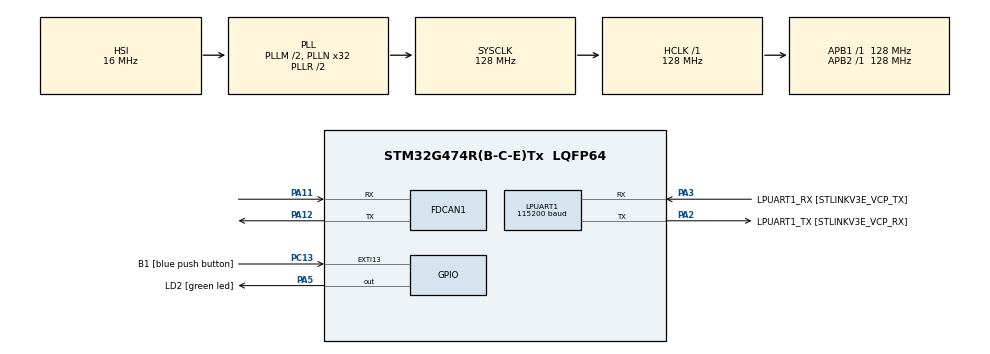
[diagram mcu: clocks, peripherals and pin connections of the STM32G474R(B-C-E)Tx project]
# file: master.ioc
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FDCAN1.ClockDivider=FDCAN_CLOCK_DIV2
FDCAN1.Mode=FDCAN_MODE_NORMAL
FDCAN1.NominalPrescaler=5
FDCAN1.NominalTimeSeg1=13
LPUART1.BaudRate=115200
LPUART1.WordLength=UART_WORDLENGTH_8B
Mcu.Family=STM32G4
Mcu.Name=STM32G474R(B-C-E)Tx
Mcu.Package=LQFP64
NVIC.EXTI15_10_IRQn=true\:0\:0\:false\:false\:true\:true\:true
NVIC.FDCAN1_IT0_IRQn=true\:0\:0\:false\:false\:true\:true\:true
NVIC.PriorityGroup=NVIC_PRIORITYGROUP_4
PA11.Mode=FDCANMaster
PA11.Signal=FDCAN1_RX
PA12.Mode=FDCANMaster
PA12.Signal=FDCAN1_TX
PA13.GPIO_Label=T_SWDIO
PA13.Mode=Serial_Wire
PA13.Signal=SYS_JTMS-SWDIO
PA14.GPIO_Label=T_SWCLK
PA14.Mode=Serial_Wire
PA14.Signal=SYS_JTCK-SWCLK
PA2.GPIO_Label=LPUART1_TX [STLINKV3E_VCP_RX]
PA2.Mode=Asynchronous
PA2.Signal=LPUART1_TX
PA3.GPIO_Label=LPUART1_RX [STLINKV3E_VCP_TX]
PA3.Mode=Asynchronous
PA3.Signal=LPUART1_RX
PA5.GPIO_Label=LD2 [green led]
PA5.Signal=GPIO_Output
PB3.GPIO_Label=T_SWO
PB3.Signal=SYS_JTDO-SWO
PC13.GPIO_Label=B1 [blue push button]
PC13.Signal=GPXTI13
PC14-OSC32_IN.Mode=LSE-External-Oscillator
PC14-OSC32_IN.Signal=RCC_OSC32_IN
PC15-OSC32_OUT.Mode=LSE-External-Oscillator
PC15-OSC32_OUT.Signal=RCC_OSC32_OUT
PF0-OSC_IN.Mode=HSE-External-Oscillator
PF0-OSC_IN.Signal=RCC_OSC_IN
PF1-OSC_OUT.Mode=HSE-External-Oscillator
PF1-OSC_OUT.Signal=RCC_OSC_OUT
ProjectManager.HeapSize=0x200
ProjectManager.StackSize=0x400
ProjectManager.TargetToolchain=STM32CubeIDE
RCC.ADC12Freq_Value=128000000
RCC.ADC345Freq_Value=128000000
RCC.AHBFreq_Value=128000000
RCC.APB1Freq_Value=128000000
RCC.APB1TimFreq_Value=128000000
RCC.APB2Freq_Value=128000000
RCC.APB2TimFreq_Value=128000000
RCC.CortexFreq_Value=128000000
RCC.EXTERNAL_CLOCK_VALUE=12288000
RCC.HCLKFreq_Value=128000000
RCC.HSE_VALUE=24000000
RCC.HSI48_VALUE=48000000
RCC.HSI_VALUE=16000000
RCC.PLLM=RCC_PLLM_DIV2
RCC.PLLN=32
RCC.RTCClockSelection=RCC_RTCCLKSOURCE_LSE
RCC.SYSCLKFreq_VALUE=128000000
RCC.SYSCLKSource=RCC_SYSCLKSOURCE_PLLCLK
RCC.USBFreq_Value=128000000
RCC.VCOOutputFreq_Value=256000000
VP_SYS_VS_DBSignals.Mode=DisableDeadBatterySignals
board=NUCLEO-G474RE

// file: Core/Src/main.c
/* USER CODE BEGIN Header */
/**
  ******************************************************************************
  * @file           : main.c
  * @brief          : Main program body
  ******************************************************************************
  * @attention
  *
  * <h2><center>&copy; Copyright (c) 2019 STMicroelectronics.
  * All rights reserved.</center></h2>
  *
  * This software component is licensed by ST under BSD 3-Clause license,
  * the "License"; You may not use this file except in compliance with the
  * License. You may obtain a copy of the License at:
  *                        opensource.org/licenses/BSD-3-Clause
  *
  ******************************************************************************
  */
/* USER CODE END Header */

#include "main.h"

FDCAN_HandleTypeDef hfdcan1;

UART_HandleTypeDef hlpuart1;

/* USER CODE BEGIN PV */
uint8_t ubKeyNumber = 0x0;
FDCAN_RxHeaderTypeDef RxHeader;
uint8_t RxData[8];
FDCAN_TxHeaderTypeDef TxHeader;
uint8_t TxData[8];
/* USER CODE END PV */

void SystemClock_Config(void);
static void MX_GPIO_Init(void);
static void MX_LPUART1_UART_Init(void);
static void MX_FDCAN1_Init(void);

int main(void)
{

  /* MCU Configuration--------------------------------------------------------*/

  /* Reset of all peripherals, Initializes the Flash interface and the Systick. */
  HAL_Init();

  /* Configure the system clock */
  SystemClock_Config();

  /* Initialize all configured peripherals */
  MX_GPIO_Init();
  MX_LPUART1_UART_Init();
  MX_FDCAN1_Init();
  /* USER CODE BEGIN 2 */
  TxHeader.Identifier = 0x321;
  TxHeader.IdType = FDCAN_EXTENDED_ID;
  TxHeader.TxFrameType = FDCAN_DATA_FRAME;
  TxHeader.DataLength = FDCAN_DLC_BYTES_8;
  TxHeader.ErrorStateIndicator = FDCAN_ESI_ACTIVE;
  TxHeader.BitRateSwitch = FDCAN_BRS_OFF;
  TxHeader.FDFormat = FDCAN_CLASSIC_CAN;
  TxHeader.TxEventFifoControl = FDCAN_NO_TX_EVENTS;
  TxHeader.MessageMarker = 0;
  TxData[0] = ubKeyNumber++;
  TxData[1] = 0xAD;
  TxData[2] = 0xDE;
  TxData[3] = 0xAD;
  TxData[4] = 0xBE;
  TxData[5] = 0xEF;
  TxData[6] = 0xFA;
  TxData[7] = 0xCE;

  /*sFilterConfig.FilterFIFOAssignment=CAN_FILTER_FIFO0;
  sFilterConfig.FilterIdHigh=0x313<<5;
  sFilterConfig.FilterIdLow=0;
  sFilterConfig.FilterMaskIdHigh=0;
  sFilterConfig.FilterMaskIdLow=0;
  sFilterConfig.FilterScale=CAN_FILTERSCALE_32BIT;
  sFilterConfig.FilterActivation=ENABLE;*/

  if (HAL_FDCAN_Start(&hfdcan1) != HAL_OK)
    {
      /* Start Error */
      Error_Handler();
    }

  if ( HAL_FDCAN_ActivateNotification(&hfdcan1, FDCAN_IT_RX_FIFO0_NEW_MESSAGE, 0) != HAL_OK)
    {
      /* Notification Error */
      Error_Handler();
    }

  /* USER CODE END 2 */

  /* Infinite loop */
  while (1)
  {

  }
}

void SystemClock_Config(void)
{
  RCC_OscInitTypeDef RCC_OscInitStruct = {0};
  RCC_ClkInitTypeDef RCC_ClkInitStruct = {0};
  RCC_PeriphCLKInitTypeDef PeriphClkInit = {0};

  /** Configure the main internal regulator output voltage
  */
  HAL_PWREx_ControlVoltageScaling(PWR_REGULATOR_VOLTAGE_SCALE1);
  /** Initializes the CPU, AHB and APB busses clocks
  */
  RCC_OscInitStruct.OscillatorType = RCC_OSCILLATORTYPE_HSI;
  RCC_OscInitStruct.HSIState = RCC_HSI_ON;
  RCC_OscInitStruct.HSICalibrationValue = RCC_HSICALIBRATION_DEFAULT;
  RCC_OscInitStruct.PLL.PLLState = RCC_PLL_ON;
  RCC_OscInitStruct.PLL.PLLSource = RCC_PLLSOURCE_HSI;
  RCC_OscInitStruct.PLL.PLLM = RCC_PLLM_DIV2;
  RCC_OscInitStruct.PLL.PLLN = 32;
  RCC_OscInitStruct.PLL.PLLP = RCC_PLLP_DIV2;
  RCC_OscInitStruct.PLL.PLLQ = RCC_PLLQ_DIV2;
  RCC_OscInitStruct.PLL.PLLR = RCC_PLLR_DIV2;
  if (HAL_RCC_OscConfig(&RCC_OscInitStruct) != HAL_OK)
  {
    Error_Handler();
  }
  /** Initializes the CPU, AHB and APB busses clocks
  */
  RCC_ClkInitStruct.ClockType = RCC_CLOCKTYPE_HCLK|RCC_CLOCKTYPE_SYSCLK
                              |RCC_CLOCKTYPE_PCLK1|RCC_CLOCKTYPE_PCLK2;
  RCC_ClkInitStruct.SYSCLKSource = RCC_SYSCLKSOURCE_PLLCLK;
  RCC_ClkInitStruct.AHBCLKDivider = RCC_SYSCLK_DIV1;
  RCC_ClkInitStruct.APB1CLKDivider = RCC_HCLK_DIV1;
  RCC_ClkInitStruct.APB2CLKDivider = RCC_HCLK_DIV1;

  if (HAL_RCC_ClockConfig(&RCC_ClkInitStruct, FLASH_LATENCY_6) != HAL_OK)
  {
    Error_Handler();
  }
  /** Initializes the peripherals clocks
  */
  PeriphClkInit.PeriphClockSelection = RCC_PERIPHCLK_LPUART1|RCC_PERIPHCLK_FDCAN;
  PeriphClkInit.Lpuart1ClockSelection = RCC_LPUART1CLKSOURCE_PCLK1;
  PeriphClkInit.FdcanClockSelection = RCC_FDCANCLKSOURCE_PCLK1;
  if (HAL_RCCEx_PeriphCLKConfig(&PeriphClkInit) != HAL_OK)
  {
    Error_Handler();
  }
}

static void MX_FDCAN1_Init(void)
{

  hfdcan1.Instance = FDCAN1;
  hfdcan1.Init.ClockDivider = FDCAN_CLOCK_DIV2;
  hfdcan1.Init.FrameFormat = FDCAN_FRAME_CLASSIC;
  hfdcan1.Init.Mode = FDCAN_MODE_NORMAL;
  hfdcan1.Init.AutoRetransmission = DISABLE;
  hfdcan1.Init.TransmitPause = DISABLE;
  hfdcan1.Init.ProtocolException = DISABLE;
  hfdcan1.Init.NominalPrescaler = 5;
  hfdcan1.Init.NominalSyncJumpWidth = 1;
  hfdcan1.Init.NominalTimeSeg1 = 13;
  hfdcan1.Init.NominalTimeSeg2 = 2;
  hfdcan1.Init.DataPrescaler = 1;
  hfdcan1.Init.DataSyncJumpWidth = 1;
  hfdcan1.Init.DataTimeSeg1 = 1;
  hfdcan1.Init.DataTimeSeg2 = 1;
  hfdcan1.Init.StdFiltersNbr = 0;
  hfdcan1.Init.ExtFiltersNbr = 0;
  hfdcan1.Init.TxFifoQueueMode = FDCAN_TX_FIFO_OPERATION;
  if (HAL_FDCAN_Init(&hfdcan1) != HAL_OK)
  {
    Error_Handler();
  }

}

static void MX_LPUART1_UART_Init(void)
{

  hlpuart1.Instance = LPUART1;
  hlpuart1.Init.BaudRate = 115200;
  hlpuart1.Init.WordLength = UART_WORDLENGTH_8B;
  hlpuart1.Init.StopBits = UART_STOPBITS_1;
  hlpuart1.Init.Parity = UART_PARITY_NONE;
  hlpuart1.Init.Mode = UART_MODE_TX_RX;
  hlpuart1.Init.HwFlowCtl = UART_HWCONTROL_NONE;
  hlpuart1.Init.OneBitSampling = UART_ONE_BIT_SAMPLE_DISABLE;
  hlpuart1.AdvancedInit.AdvFeatureInit = UART_ADVFEATURE_NO_INIT;
  if (HAL_UART_Init(&hlpuart1) != HAL_OK)
  {
    Error_Handler();
  }
  if (HAL_UARTEx_SetTxFifoThreshold(&hlpuart1, UART_TXFIFO_THRESHOLD_1_8) != HAL_OK)
  {
    Error_Handler();
  }
  if (HAL_UARTEx_SetRxFifoThreshold(&hlpuart1, UART_RXFIFO_THRESHOLD_1_8) != HAL_OK)
  {
    Error_Handler();
  }
  if (HAL_UARTEx_DisableFifoMode(&hlpuart1) != HAL_OK)
  {
    Error_Handler();
  }

}

static void MX_GPIO_Init(void)
{
  GPIO_InitTypeDef GPIO_InitStruct = {0};

  /* GPIO Ports Clock Enable */
  __HAL_RCC_GPIOC_CLK_ENABLE();
  __HAL_RCC_GPIOF_CLK_ENABLE();
  __HAL_RCC_GPIOA_CLK_ENABLE();
  __HAL_RCC_GPIOB_CLK_ENABLE();

  /*Configure GPIO pin Output Level */
  HAL_GPIO_WritePin(LD2_GPIO_Port, LD2_Pin, GPIO_PIN_RESET);

  /*Configure GPIO pin : B1_Pin */
  GPIO_InitStruct.Pin = B1_Pin;
  GPIO_InitStruct.Mode = GPIO_MODE_IT_RISING;
  GPIO_InitStruct.Pull = GPIO_NOPULL;
  HAL_GPIO_Init(B1_GPIO_Port, &GPIO_InitStruct);

  /*Configure GPIO pin : LD2_Pin */
  GPIO_InitStruct.Pin = LD2_Pin;
  GPIO_InitStruct.Mode = GPIO_MODE_OUTPUT_PP;
  GPIO_InitStruct.Pull = GPIO_NOPULL;
  GPIO_InitStruct.Speed = GPIO_SPEED_FREQ_LOW;
  HAL_GPIO_Init(LD2_GPIO_Port, &GPIO_InitStruct);

  /* EXTI interrupt init*/
  HAL_NVIC_SetPriority(EXTI15_10_IRQn, 0, 0);
  HAL_NVIC_EnableIRQ(EXTI15_10_IRQn);

}

/* USER CODE BEGIN 4 */
void HAL_FDCAN_RxFifo0Callback(FDCAN_HandleTypeDef*hcan, uint32_t RxFifo0ITs)
{
	HAL_FDCAN_GetRxMessage(&hfdcan1,FDCAN_RX_FIFO0,&RxHeader,RxData);
	HAL_GPIO_TogglePin(GPIOB,GPIO_PIN_2);
}
/* USER CODE END 4 */

void Error_Handler(void)
{
}

/************************ (C) COPYRIGHT STMicroelectronics *****END OF FILE****/
